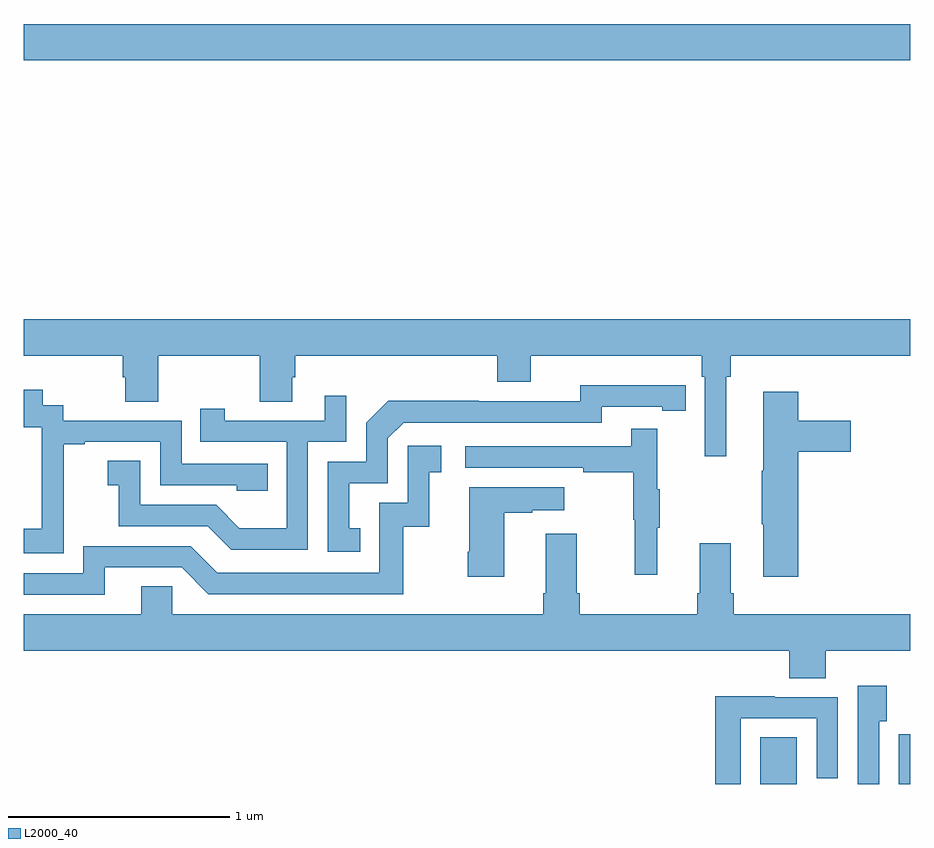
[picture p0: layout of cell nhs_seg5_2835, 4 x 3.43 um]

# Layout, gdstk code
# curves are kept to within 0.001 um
import gdstk
lib = gdstk.Library(unit=1e-6, precision=1e-09)
def R(c, l, rs):  # rectangles x0, y0, x1, y1
    for r in rs: c.add(gdstk.rectangle(r[:2], r[2:], *l))
def P(c, l, *ps):  # polygons
    for p in ps: c.add(gdstk.Polygon(p, *l))
L2000_40 = (2000, 40)

nhs_seg5_2835 = lib.new_cell('nhs_seg5_2835')
R(nhs_seg5_2835, L2000_40, [(278.324,882.799,278.488,883.01), (278.948,882.799,279,883.023), (275,886.064,279,886.228)])
P(nhs_seg5_2835, L2000_40, [(278.17,884.636),(278.189,884.636),(278.189,884.732),(279,884.732),(279,884.896),(275,884.896),(275,884.732),(275.447,884.732),(275.447,884.634),(275.459,884.634),(275.459,884.524),(275.607,884.524),(275.607,884.732),(276.064,884.732),(276.064,884.524),(276.211,884.524),(276.211,884.634),(276.224,884.634),(276.224,884.732),(277.136,884.732),(277.136,884.615),(277.288,884.615),(277.288,884.732),(278.06,884.732),(278.06,884.636),(278.073,884.636),(278.073,884.277),(278.17,884.277)],
  [(276.518,883.953),(276.469,883.953),(276.469,884.157),(276.642,884.157),(276.642,884.358),(276.714,884.43),(277.608,884.43),(277.608,884.502),(277.88,884.502),(277.88,884.482),(277.988,884.482),(277.988,884.598),(277.512,884.599),(277.512,884.526),(277.052,884.526),(277.052,884.528),(276.644,884.528),(276.546,884.43),(276.546,884.253),(276.372,884.253),(276.372,883.848),(276.518,883.848)],
  [(275.181,884.047),(275.18,884.047),(275.18,884.331),(275.275,884.331),(275.275,884.343),(275.616,884.343),(275.616,884.148),(275.961,884.148),(275.961,884.121),(276.101,884.121),(276.101,884.244),(275.712,884.244),(275.712,884.439),(275.178,884.439),(275.178,884.508),(275.086,884.508),(275.086,884.578),(275,884.578),(275,884.409),(275.082,884.409),(275.082,884.18),(275.081,884.18),(275.081,883.951),(275,883.951),(275,883.841),(275.181,883.841)],
  [(278.495,884.297),(278.731,884.297),(278.731,884.439),(278.495,884.439),(278.495,884.569),(278.336,884.569),(278.336,884.213),(278.329,884.213),(278.329,883.972),(278.336,883.972),(278.336,883.734),(278.495,883.734)],
  [(276.282,884.343),(276.456,884.343),(276.456,884.551),(276.359,884.551),(276.359,884.439),(275.908,884.439),(275.908,884.491),(275.797,884.491),(275.797,884.343),(276.186,884.343),(276.186,883.954),(275.972,883.954),(275.868,884.058),(275.526,884.058),(275.526,884.257),(275.379,884.257),(275.379,884.147),(275.428,884.147),(275.428,883.962),(275.831,883.962),(275.936,883.857),(276.282,883.857)],
  [(277.859,883.955),(277.87,883.955),(277.87,884.129),(277.859,884.129),(277.859,884.401),(277.741,884.401),(277.741,884.322),(276.993,884.322),(276.993,884.226),(277.525,884.226),(277.525,884.206),(277.749,884.206),(277.749,883.992),(277.756,883.992),(277.756,883.743),(277.859,883.743)],
  [(275.365,883.776),(275.712,883.776),(275.832,883.656),(276.712,883.656),(276.712,883.959),(276.83,883.959),(276.83,884.205),(276.883,884.205),(276.883,884.326),(276.732,884.326),(276.732,884.067),(276.603,884.067),(276.603,883.752),(275.874,883.752),(275.754,883.872),(275.268,883.872),(275.268,883.749),(275,883.749),(275,883.653),(275.365,883.653)],
  [(277.168,884.023),(277.295,884.023),(277.295,884.033),(277.438,884.033),(277.438,884.137),(277.01,884.137),(277.01,883.846),(277.003,883.846),(277.003,883.734),(277.168,883.734)],
  [(278.618,883.4),(279,883.4),(279,883.564),(278.204,883.564),(278.204,883.66),(278.191,883.66),(278.191,883.885),(278.051,883.885),(278.051,883.66),(278.039,883.66),(278.039,883.564),(277.508,883.564),(277.508,883.66),(277.495,883.66),(277.495,883.927),(277.355,883.927),(277.355,883.66),(277.343,883.66),(277.343,883.564),(275.67,883.564),(275.67,883.691),(275.531,883.691),(275.531,883.564),(275,883.564),(275,883.4),(278.453,883.4),(278.453,883.276),(278.618,883.276)],
  [(278.859,883.082),(278.893,883.082),(278.893,883.243),(278.763,883.243),(278.763,882.799),(278.859,882.799)],
  [(278.235,883.095),(278.577,883.095),(278.577,882.825),(278.673,882.825),(278.673,883.191),(278.389,883.191),(278.389,883.195),(278.119,883.195),(278.119,882.799),(278.235,882.799)])

lib.write_gds('nhs_seg5_2835.gds')
